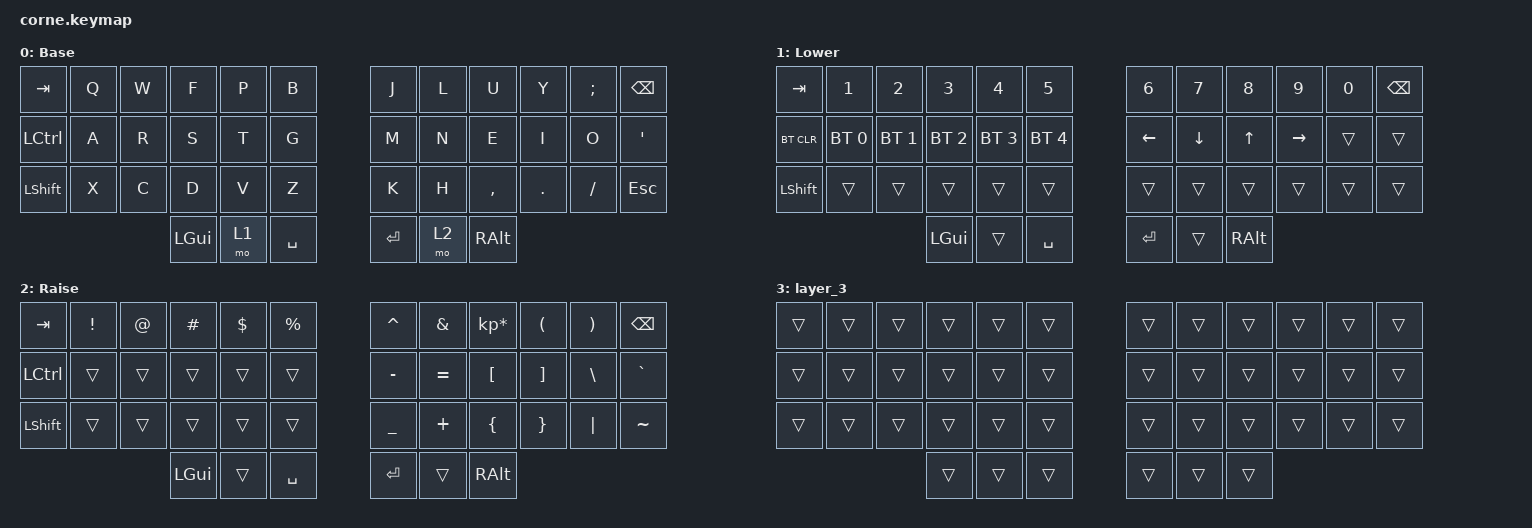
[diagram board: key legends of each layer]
/*
 * Copyright (c) 2020 The ZMK Contributors
 *
 * SPDX-License-Identifier: MIT
 */

#include <behaviors.dtsi>
#include <dt-bindings/zmk/bt.h>
#include <dt-bindings/zmk/keys.h>

/ {
    keymap {
        compatible = "zmk,keymap";

        default_layer {
            // -----------------------------------------------------------------------------------------
            // |  TAB |  Q  |  W  |  E  |  R  |  T  |   |  Y  |  U   |  I  |  O  |  P  | BKSP |
            // | CTRL |  A  |  S  |  D  |  F  |  G  |   |  H  |  J   |  K  |  L  |  ;  |  '   |
            // | SHFT |  Z  |  X  |  C  |  V  |  B  |   |  N  |  M   |  ,  |  .  |  /  | ESC  |
            //                    | GUI | LWR | SPC |   | ENT | RSE  | ALT |

            display-name = "Base";
            bindings = <
&kp TAB    &kp Q  &kp W  &kp F     &kp P  &kp B        &kp J    &kp L  &kp U      &kp Y    &kp SEMICOLON  &kp BSPC
&kp LCTRL  &kp A  &kp R  &kp S     &kp T  &kp G        &kp M    &kp N  &kp E      &kp I    &kp O          &kp SQT
&kp LSHFT  &kp X  &kp C  &kp D     &kp V  &kp Z        &kp K    &kp H  &kp COMMA  &kp DOT  &kp FSLH       &kp ESC
                         &kp LGUI  &mo 1  &kp SPACE    &kp RET  &mo 2  &kp RALT
            >;
        };

        lower_layer {
            // -----------------------------------------------------------------------------------------
            // |  TAB |  1  |  2  |  3  |  4  |  5  |   |  6  |  7  |  8  |  9  |  0  | BKSP |
            // | BTCLR| BT1 | BT2 | BT3 | BT4 | BT5 |   | LFT | DWN |  UP | RGT |     |      |
            // | SHFT |     |     |     |     |     |   |     |     |     |     |     |      |
            //                    | GUI |     | SPC |   | ENT |     | ALT |

            display-name = "Lower";
            bindings = <
&kp TAB     &kp N1        &kp N2        &kp N3        &kp N4        &kp N5          &kp N6    &kp N7    &kp N8    &kp N9     &kp N0  &kp BSPC
&bt BT_CLR  &bt BT_SEL 0  &bt BT_SEL 1  &bt BT_SEL 2  &bt BT_SEL 3  &bt BT_SEL 4    &kp LEFT  &kp DOWN  &kp UP    &kp RIGHT  &trans  &trans
&kp LSHFT   &trans        &trans        &trans        &trans        &trans          &trans    &trans    &trans    &trans     &trans  &trans
                                        &kp LGUI      &trans        &kp SPACE       &kp RET   &trans    &kp RALT
            >;
        };

        raise_layer {
            // -----------------------------------------------------------------------------------------
            // |  TAB |  !  |  @  |  #  |  $  |  %  |   |  ^  |  &  |  *  |  (  |  )  | BKSP |
            // | CTRL |     |     |     |     |     |   |  -  |  =  |  [  |  ]  |  \  |  `   |
            // | SHFT |     |     |     |     |     |   |  _  |  +  |  {  |  }  | "|" |  ~   |
            //                    | GUI |     | SPC |   | ENT |     | ALT |

            display-name = "Raise";
            bindings = <
&kp TAB    &kp EXCL  &kp AT  &kp HASH  &kp DLLR  &kp PRCNT    &kp CARET  &kp AMPS   &kp KP_MULTIPLY  &kp LPAR  &kp RPAR  &kp BSPC
&kp LCTRL  &trans    &trans  &trans    &trans    &trans       &kp MINUS  &kp EQUAL  &kp LBKT         &kp RBKT  &kp BSLH  &kp GRAVE
&kp LSHFT  &trans    &trans  &trans    &trans    &trans       &kp UNDER  &kp PLUS   &kp LBRC         &kp RBRC  &kp PIPE  &kp TILDE
                             &kp LGUI  &trans    &kp SPACE    &kp RET    &trans     &kp RALT
            >;
        };

        layer_3 {
            bindings = <
&trans  &trans  &trans  &trans  &trans  &trans    &trans  &trans  &trans  &trans  &trans  &trans
&trans  &trans  &trans  &trans  &trans  &trans    &trans  &trans  &trans  &trans  &trans  &trans
&trans  &trans  &trans  &trans  &trans  &trans    &trans  &trans  &trans  &trans  &trans  &trans
                        &trans  &trans  &trans    &trans  &trans  &trans
            >;
        };
    };
};
